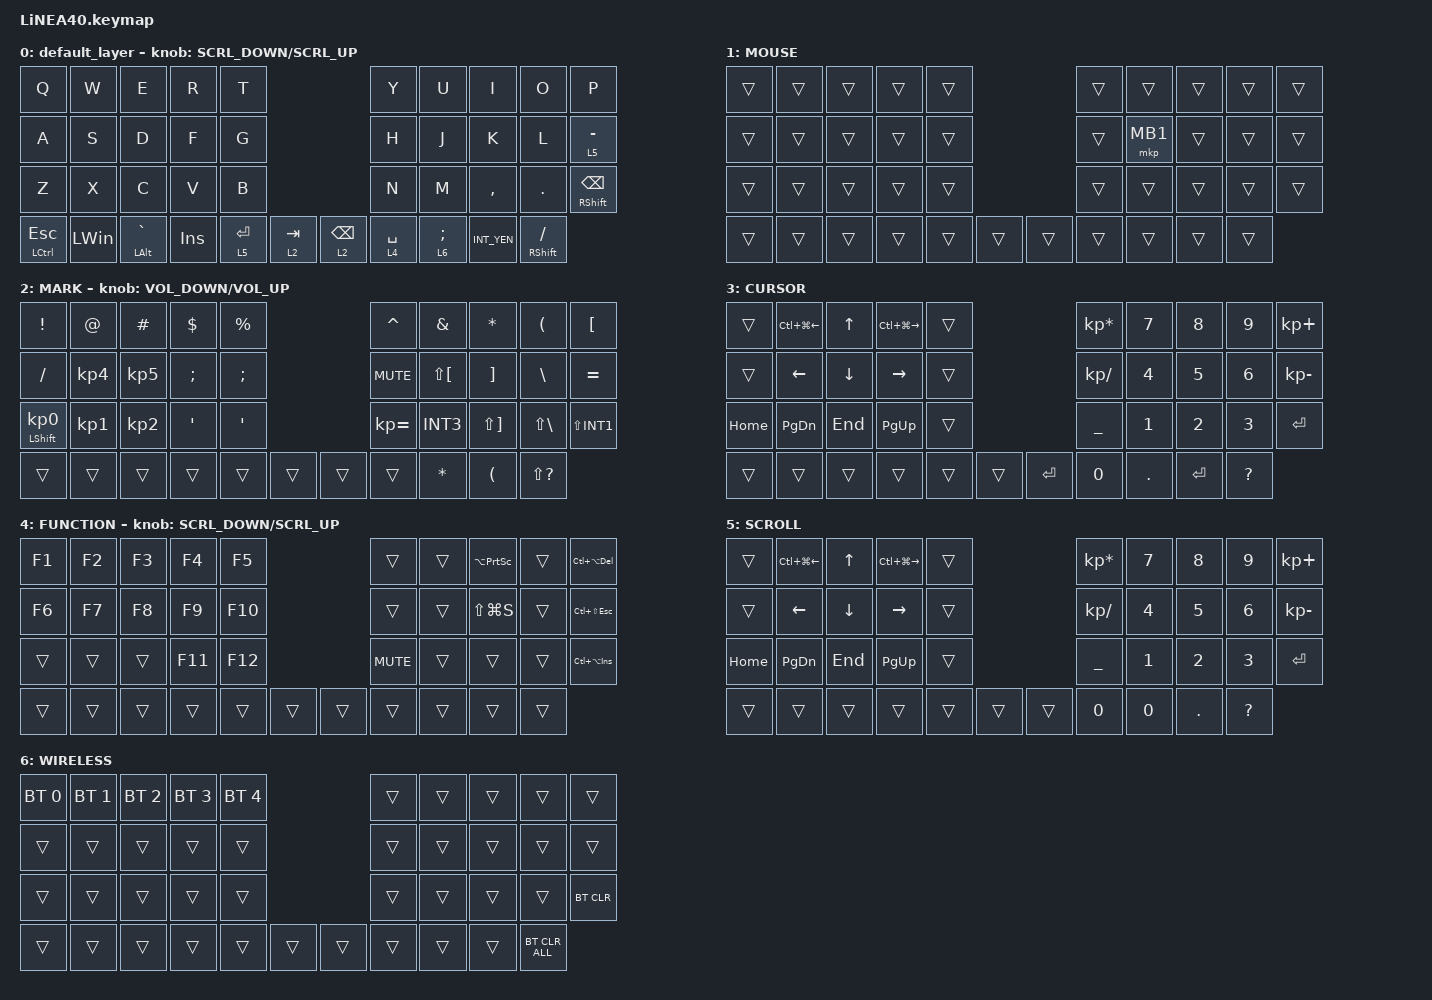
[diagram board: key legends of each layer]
#define ZMK_POINTING_DEFAULT_SCRL_VAL 150
#include <behaviors.dtsi>
#include <dt-bindings/zmk/bt.h>
#include <dt-bindings/zmk/pointing.h>
#include <dt-bindings/zmk/pointing_acceleration.h> // ← 加速モジュール用ヘッダーを追加
#include <dt-bindings/zmk/input_transform.h>
#include <input/processors.dtsi>
#include <zephyr/dt-bindings/input/input-event-codes.h>
#include <scroll-snap.dtsi> // ←追加：スナップ用ヘッダー

#define MOUSE 1
#define MARK 2
#define CURSOR 3
#define FUNCTION 4
#define SCROLL 5
#define WIRELESS 6

/* 
  // [削除] 古いキーボード用マウス移動設定（競合や混乱を防ぐためコメントアウトで削除）
  &mmv {
      delay-ms = <20>;
      trigger-period-ms = <5>;
      time-to-max-speed-ms = <100>;
      acceleration-exponent = <2>;
  };
*/

//mouse scroll
&msc {
    delay-ms = <3>;
    trigger-period-ms = <3>;
    time-to-max-speed-ms = <100>;
    acceleration-exponent = <0>;
};

/ {
    // 【追加】縦スクロール用慣性プロセッサ（レイヤー3用）
    scroll_inertia_v: scroll_inertia_v {
        compatible = "zmk,input-processor-scroll-inertia";
        #input-processor-cells = <0>;
        axis = <1>;  /* 1: 縦スクロール */
        layer = <3>; /* 対象レイヤー: 3 */
        scale     = <1>;   /* scroll_scalerと合わせる */
        scale-div = <10>; /* scroll_scalerと合わせる */
    };

    // 【追加】横スクロール用慣性プロセッサ（レイヤー1用）
    scroll_inertia_h: scroll_inertia_h {
        compatible = "zmk,input-processor-scroll-inertia";
        #input-processor-cells = <0>;
        axis = <2>;  /* 2: 横スクロール */
        layer = <1>; /* 対象レイヤー: 1 */
        scale     = <1>;   /* scroll_scalerと合わせる */
        scale-div = <>; /* scroll_scalerと合わせる */
    };
};


/ {
    // 【追加】ZMK Pointing Acceleration（微細操作重視の設定）
    zip_temp_pointing_acceleration: zip_temp_pointing_acceleration {
        compatible = "zmk,input-processor-temp-pointing-acceleration";
        #input-processor-cells = <0>;
        
        min-factor = <100>;             // 低速時は0.6倍に落として精密操作
        max-factor = <9000>;            // 高速時は4倍まで大きく加速
        speed-threshold = <800>;        // 緩やかに動き出す閾値
        speed-max = <3500>;             // 最高速に達する閾値
        acceleration-exponent = <3>;   // 2次カーブでスムーズに立ち上げる
    };

    input_processors {
        zip_wheel_scaler: zip_wheel_scaler {
            compatible = "zmk,input-processor-scaler";
            #input-processor-cells = <2>;
            type = <INPUT_EV_REL>;
            codes = <INPUT_REL_WHEEL>;
            track-remainders;
        };
  
};

&msc_input_listener {
    speed_up {
        layers = <FUNCTION>;
        input-processors = <&zip_wheel_scaler 2 1>; //スクロールを3倍速にする
    };
};


&trackball_listener {
    // レイヤー3での縦スクロール動作（Y軸反転 ＋ スクロール変換 ＋ 慣性）
    scroller_v {
        layers = <3>;
        input-processors = <
            &zip_y_scaler (-1) 1
            &zip_xy_to_scroll_mapper
            &scroll_inertia_v
            &zip_scroll_scaler 1 10
            >;
    };

    // レイヤー1での横スクロール動作（スクロール変換 ＋ 慣性）
    scroller_h {
        layers = <1>;
        input-processors = <
            &zip_y_scaler (-1) 1
            &zip_xy_to_scroll_mapper
            &scroll_inertia_h
            &zip_scroll_scaler 1 10
            >;
    };

    // 【追加】通常カーソル操作時に加速プロセッサを適用
    pointer {
        input-processors = <&zip_temp_pointing_acceleration>;
    };
};



/ {
        combos {
        compatible = "zmk,combos";

        ZenkakuHankaku {
            bindings = <&kp GRAVE>;
            key-positions = <11 12>;
        };

        DeleteKey {
            bindings = <&kp DEL>;
            key-positions = <7 8>;
        };

        InsertKey {
            bindings = <&kp INS>;
            key-positions = <6 7>;
        };

        CenterClick {
            bindings = <&mkp MB3>;
            key-positions = <17 16>;
        };

        RightClick {
            bindings = <&mkp MB2>;
            key-positions = <18 17>;
        };

        PrevClick {
            bindings = <&mkp MB4>;
            key-positions = <27 28>;
        };

        ClickNext {
            bindings = <&mkp MB5>;
            key-positions = <26 27>;
        };

    };

    behaviors {
        re_kp: sensor_rotate_kp {
            compatible = "zmk,behavior-sensor-rotate-var";
            #sensor-binding-cells = <2>;
            bindings = <&kp>, <&kp>;
        };
        mouse_scrl: mouse_wheel_scrl {
            compatible = "zmk,behavior-sensor-rotate-var";
            #sensor-binding-cells = <2>;
            bindings = <&msc>, <&msc>;
            tap-ms = <20>;
        };
    };

    keymap {
        compatible = "zmk,keymap";

        default_layer {
            bindings = <
                &kp Q          &kp W         &kp E               &kp R    &kp T                                    &kp Y        &kp U     &kp I            &kp O        &kp P
                &kp A          &kp S         &kp D               &kp F    &kp G                                    &kp H        &kp J     &kp K            &kp L        &lt 5 MINUS
                &kp Z          &kp X         &kp C               &kp V    &kp B                                    &kp N        &kp M     &kp COMMA        &kp DOT      &mt RIGHT_SHIFT BACKSPACE
                &mt LCTRL ESC  &kp LEFT_WIN  &mt LEFT_ALT GRAVE  &kp INS  &lt 5 ENTER  &lt 2 TAB  &lt 2 BACKSPACE  &lt 4 SPACE            &lt 6 SEMICOLON  &kp INT_YEN  &mt RIGHT_SHIFT SLASH
            >;
            sensor-bindings = <&mouse_scrl SCRL_DOWN SCRL_UP>;
        };

        //1
        MOUSE {
            bindings = <
                &trans  &trans  &trans  &trans  &trans                    &trans  &trans    &trans  &trans  &trans
                &trans  &trans  &trans  &trans  &trans                    &trans  &mkp MB1  &trans  &trans  &trans
                &trans  &trans  &trans  &trans  &trans                    &trans  &trans    &trans  &trans  &trans
                &trans  &trans  &trans  &trans  &trans  &trans    &trans  &trans            &trans  &trans  &trans
            >;
        };

        //2
        MARK {
            bindings = <
                &kp EXCLAMATION             &kp AT           &kp HASH         &kp DOLLAR     &kp PERCENT                                          &kp CARET     &kp AMPERSAND  &kp ASTERISK           &kp LEFT_PARENTHESIS  &kp LBKT
                &kp SLASH                   &kp KP_NUMBER_4  &kp KP_NUMBER_5  &kp SEMICOLON  &kp SEMICOLON                                        &kp C_MUTE    &kp LS(LBKT)   &kp RIGHT_BRACKET      &kp BACKSLASH         &kp EQUAL
                &mt LEFT_SHIFT KP_NUMBER_0  &kp KP_NUMBER_1  &kp KP_NUMBER_2  &kp APOS       &kp SQT                                              &kp KP_EQUAL  &kp INT3       &kp LS(RIGHT_BRACKET)  &kp LS(BACKSLASH)     &kp LS(INT1)
                &trans                      &trans           &trans           &trans         &trans         &trans          &trans                &trans                       &kp ASTERISK           &kp LEFT_PARENTHESIS  &kp LS(QUESTION)
            >;
            sensor-bindings = <&re_kp C_VOLUME_DOWN C_VOLUME_UP>;
        };

        //3
        CURSOR {
            bindings = <
                &trans    &kp LC(LG(LEFT_ARROW))  &kp UP_ARROW  &kp LC(LG(RIGHT_ARROW))  &trans                       &kp KP_MULTIPLY  &kp NUMBER_7  &kp NUMBER_8  &kp NUMBER_9  &kp KP_PLUS
                &trans    &kp LEFT_ARROW          &kp DOWN      &kp RIGHT_ARROW          &trans                       &kp KP_SLASH     &kp NUMBER_4  &kp NUMBER_5  &kp NUMBER_6  &kp KP_MINUS
                &kp HOME  &kp PAGE_DOWN           &kp END       &kp PAGE_UP              &trans                       &kp UNDER        &kp NUMBER_1  &kp NUMBER_2  &kp NUMBER_3  &kp ENTER
                &trans    &trans                  &trans        &trans                   &trans  &trans    &kp ENTER  &kp NUMBER_0                   &kp DOT       &kp ENTER     &kp QUESTION
            >;
        };

        //4
        FUNCTION {
            bindings = <
                &kp F1  &kp F2  &kp F3  &kp F4   &kp F5                     &trans      &trans  &kp LA(PRINTSCREEN)  &trans  &kp LC(LA(DELETE))
                &kp F6  &kp F7  &kp F8  &kp F9   &kp F10                    &trans      &trans  &kp LS(LG(S))        &trans  &kp LC(LS(ESCAPE))
                &trans  &trans  &trans  &kp F11  &kp F12                    &kp C_MUTE  &trans  &trans               &trans  &kp LC(LA(INS))
                &trans  &trans  &trans  &trans   &trans   &trans   &trans   &trans              &trans               &trans  &trans
            >;
            sensor-bindings = <&mouse_scrl SCRL_DOWN SCRL_UP>;
        };

        //5
        SCROLL {
             bindings = <
                &trans    &kp LC(LG(LEFT_ARROW))  &kp UP_ARROW  &kp LC(LG(RIGHT_ARROW))  &trans                       &kp KP_MULTIPLY  &kp NUMBER_7  &kp NUMBER_8  &kp NUMBER_9  &kp KP_PLUS
                &trans    &kp LEFT_ARROW          &kp DOWN      &kp RIGHT_ARROW          &trans                       &kp KP_SLASH     &kp NUMBER_4  &kp NUMBER_5  &kp NUMBER_6  &kp KP_MINUS
                &kp HOME  &kp PAGE_DOWN           &kp END       &kp PAGE_UP              &trans                       &kp UNDER        &kp NUMBER_1  &kp NUMBER_2  &kp NUMBER_3  &kp ENTER
                &trans    &trans                  &trans        &trans                   &trans  &trans    &trans  &kp NUMBER_0                   &kp NUMBER_0  &kp DOT       &kp QUESTION
            >;
        };

        //6
        WIRELESS {
            bindings = <
                &bt BT_SEL 0  &bt BT_SEL 1  &bt BT_SEL 2  &bt BT_SEL 3  &bt BT_SEL 4                 &trans &trans &trans &trans &trans
                &trans        &trans        &trans        &trans        &trans                       &trans &trans &trans &trans &trans
                &trans        &trans        &trans        &trans        &trans                       &trans &trans &trans &trans &bt BT_CLR
                &trans        &trans        &trans        &trans        &trans        &trans  &trans &trans        &trans &trans &bt BT_CLR_ALL
            >;
        };
    };
};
